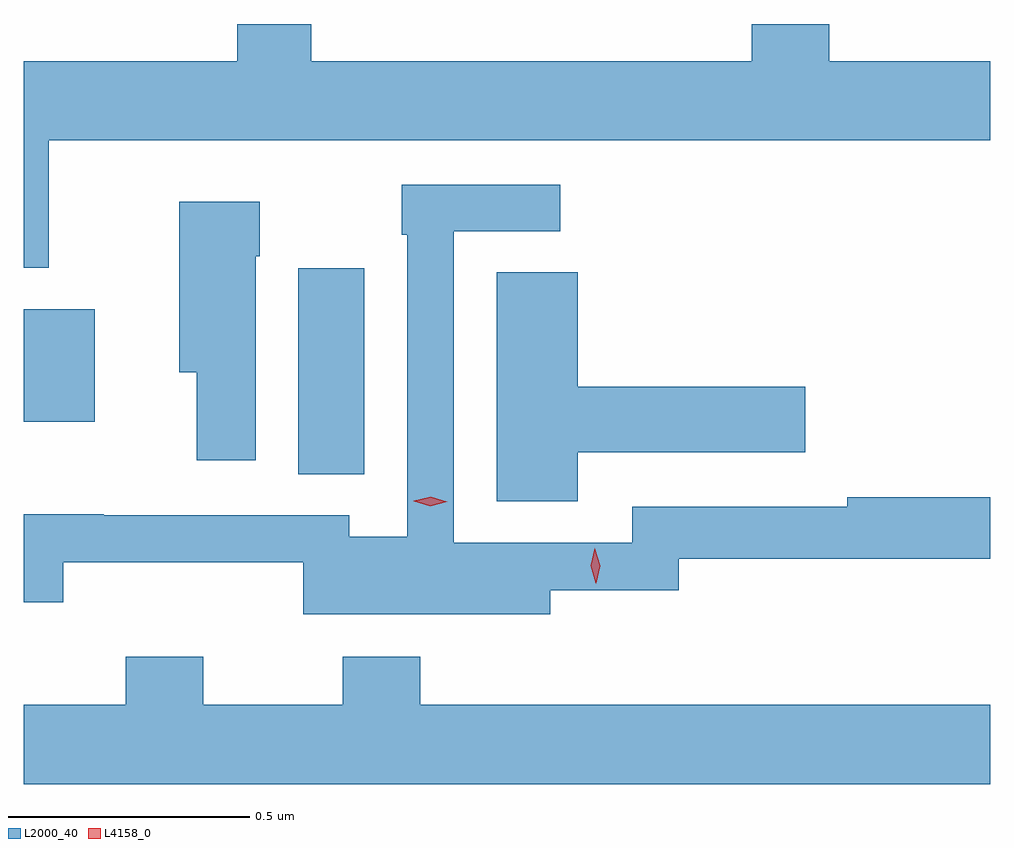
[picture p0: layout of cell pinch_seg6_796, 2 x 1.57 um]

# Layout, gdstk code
import gdstk
lib = gdstk.Library(unit=1e-6, precision=1e-09)
def R(c, l, rs):  # rectangles x0, y0, x1, y1
    for r in rs: c.add(gdstk.rectangle(r[:2], r[2:], *l))
def P(c, l, *ps):  # polygons
    for p in ps: c.add(gdstk.Polygon(p, *l))
L2000_40 = (2000, 40)
L4158_0 = (4158, 0)

pinch_seg6_796 = lib.new_cell('pinch_seg6_796')
R(pinch_seg6_796, L2000_40, [(328.52,985.273,328.657,985.699), (327.952,985.382,328.099,985.615)])
P(pinch_seg6_796, L2000_40, [(328.004,985.964),(329.952,985.964),(329.952,986.128),(329.619,986.128),(329.619,986.205),(329.459,986.205),(329.459,986.128),(328.547,986.128),(328.547,986.205),(328.394,986.205),(328.394,986.128),(327.952,986.128),(327.952,985.701),(328.004,985.701)],
  [(329.041,985.033),(329.307,985.033),(329.307,985.098),(329.952,985.098),(329.952,985.226),(329.656,985.226),(329.656,985.206),(329.211,985.206),(329.211,985.131),(328.842,985.131),(328.842,985.776),(329.062,985.776),(329.062,985.872),(328.734,985.872),(328.734,985.769),(328.746,985.769),(328.746,985.144),(328.626,985.144),(328.626,985.188),(328.117,985.188),(328.117,985.19),(327.952,985.19),(327.952,985.008),(328.034,985.008),(328.034,985.091),(328.53,985.091),(328.53,984.983),(329.041,984.983)],
  [(328.432,985.724),(328.44,985.724),(328.44,985.837),(328.274,985.837),(328.274,985.484),(328.31,985.484),(328.31,985.302),(328.432,985.302)],
  [(329.098,985.319),(329.569,985.319),(329.569,985.454),(329.098,985.454),(329.098,985.691),(328.931,985.691),(328.931,985.217),(329.098,985.217)],
  [(329.952,984.796),(328.772,984.796),(328.772,984.895),(328.612,984.895),(328.612,984.796),(328.323,984.796),(328.323,984.895),(328.163,984.895),(328.163,984.796),(327.952,984.796),(327.952,984.632),(329.952,984.632)])
P(pinch_seg6_796, L4158_0, [(329.136,985.048),(329.125,985.084),(329.134,985.12),(329.134,985.12),(329.134,985.12),(329.145,985.084),(329.137,985.048),(329.137,985.048)],
  [(328.793,985.207),(328.759,985.217),(328.759,985.218),(328.759,985.218),(328.794,985.227),(328.828,985.216),(328.828,985.216),(328.828,985.216)])

lib.write_gds('pinch_seg6_796.gds')
